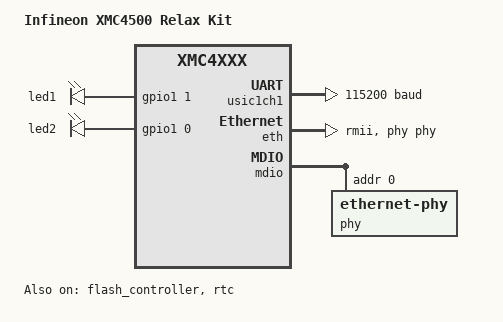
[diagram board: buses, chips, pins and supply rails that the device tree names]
/*
 * SPDX-License-Identifier: Apache-2.0
 *
 * Copyright (c) 2020 Linumiz
 * Author: Parthiban Nallathambi <parthiban@linumiz.com>
 *
 */

/dts-v1/;

#include <infineon/cat3/xmc/xmc4500_F100x1024.dtsi>
#include <infineon/cat3/xmc/xmc4500_F100x1024-intc.dtsi>
#include <zephyr/dt-bindings/pwm/pwm.h>
#include "xmc45_relax_kit-pinctrl.dtsi"

/ {
	model = "Infineon XMC4500 Relax Kit";
	compatible = "infineon,xm4500-relax-kit", "infineon,xmc4500",
		     "infineon,xmc4xxx";

	aliases {
		led0 = &led1;
		die-temp0 = &die_temp;
		pwm-led0 = &pwm_led1;
		watchdog0 = &wdt0;
		rtc = &rtc;
	};

	leds {
		compatible = "gpio-leds";

		/* leds are labelled LED1 and LED2 in the relax kit documentation */
		led1: led1 {
			gpios = <&gpio1 1 GPIO_ACTIVE_HIGH>;
		};

		led2: led2 {
			gpios = <&gpio1 0 GPIO_ACTIVE_HIGH>;
		};
	};

	pwmleds: pwmleds {
		compatible = "pwm-leds";
		status = "disabled";

		pwm_led1: pwm_led1 {
			pwms = <&pwm_ccu40 2 PWM_SEC(1) PWM_POLARITY_NORMAL>;
			label = "PWM LED1";
		};

		pwm_led2: pwm_led2 {
			pwms = <&pwm_ccu40 3 PWM_SEC(1) PWM_POLARITY_NORMAL>;
			label = "PWM LED2";
		};
	};

	chosen {
		zephyr,sram = &dsram1;
		zephyr,flash = &flash0;
		zephyr,console = &usic1ch1;
		zephyr,shell-uart = &usic1ch1;
		zephyr,flash-controller = &flash_controller;
		zephyr,code-partition = &code_partition;
	};
};

&psram1 {
	compatible = "zephyr,memory-region", "mmio-sram";
	zephyr,memory-region = "PSRAM1";
};

&dsram2 {
	compatible = "zephyr,memory-region", "mmio-sram";
	zephyr,memory-region = "DSRAM2";
};

&flash_controller {
	status = "okay";
};

&flash0 {
	partitions {
		compatible = "fixed-partitions";
		#address-cells = <1>;
		#size-cells = <1>;

		code_partition: partition@0 {
			reg = <0x0 0x80000>;
			read-only;
		};

		storage_partition: partition@80000 {
			label = "storage";
			reg = <0x80000 0x80000>;
		};
	};
};

&cpu0 {
	clock-frequency = <120000000>;
};

&usic1ch1 {
	compatible = "infineon,xmc4xxx-uart";
	current-speed = <115200>;
	pinctrl-0 = <&uart_tx_p0_1_u1c1 &uart_rx_p0_0_u1c1>;
	pinctrl-names = "default";
	input-src = "DX0D";
	interrupts = <90 1 91 1>;
	interrupt-names = "tx", "rx";
	fifo-start-offset = <0>;
	fifo-tx-size = <16>;
	fifo-rx-size = <16>;
	status = "okay";
};

&adc0 {
	vref-internal-mv = <3300>;
};

&adc1 {
	vref-internal-mv = <3300>;
};

&adc2 {
	vref-internal-mv = <3300>;
};

&adc3 {
	vref-internal-mv = <3300>;
};

&gpio1 {
	status = "okay";
};

&pwm_ccu40 {
	slice-prescaler = <15 15 15 15>;
	pinctrl-0 = <&pwm_out_p1_0_ccu40_ch3 &pwm_out_p1_1_ccu40_ch2>;
	pinctrl-names = "default";
};

&eth {
	status = "okay";
	pinctrl-0 = <&eth_p2_4_rxer &eth_p2_2_rxd0 &eth_p2_3_rxd1
		     &eth_p15_8_clk_rmii &eth_p15_9_crs_dv &eth_p2_5_tx_en
		     &eth_p2_8_txd0 &eth_p2_9_txd1>;
	pinctrl-names = "default";

	rxer-port-ctrl = "P2_4";
	rxd0-port-ctrl = "P2_2";
	rxd1-port-ctrl = "P2_3";
	rmii-rx-clk-port-ctrl = "P15_8";
	crs-rx-dv-port-ctrl = "P15_9";

	phy-connection-type = "rmii";
	phy-handle = <&phy>;
};

&mdio {
	status = "okay";
	mdi-port-ctrl = "P2_0";
	pinctrl-0 = <&eth_p2_0_mdo &eth_p2_7_mdc>;
	pinctrl-names = "default";

	phy: ethernet-phy@0 {
		compatible = "ethernet-phy";
		reg = <0>;
	};
};

&rtc {
	status = "okay";
};
